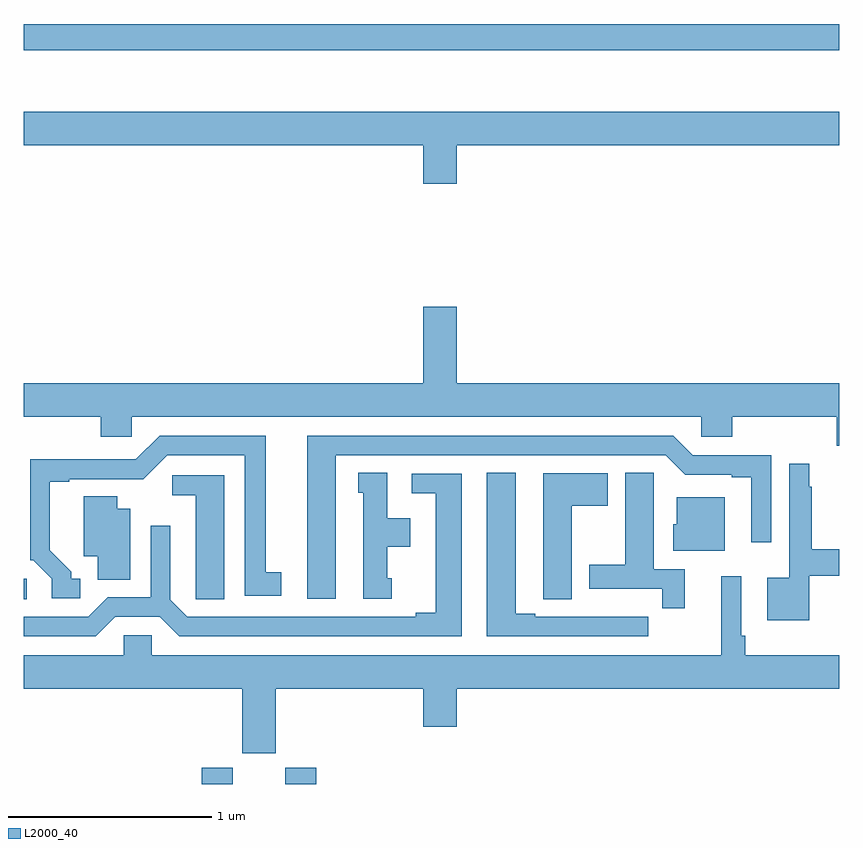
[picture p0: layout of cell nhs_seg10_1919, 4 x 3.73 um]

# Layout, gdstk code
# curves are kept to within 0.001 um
import gdstk
lib = gdstk.Library(unit=1e-6, precision=1e-09)
def R(c, l, rs):  # rectangles x0, y0, x1, y1
    for r in rs: c.add(gdstk.rectangle(r[:2], r[2:], *l))
def P(c, l, *ps):  # polygons
    for p in ps: c.add(gdstk.Polygon(p, *l))
L2000_40 = (2000, 40)

nhs_seg10_1919 = lib.new_cell('nhs_seg10_1919')
R(nhs_seg10_1919, L2000_40, [(211.874,1314.5,212.026,1314.579), (212.282,1314.5,212.435,1314.579), (211,1315.405,211.015,1315.506), (211,1318.098,215,1318.226)])
P(nhs_seg10_1919, L2000_40, [(213.124,1317.632),(215,1317.632),(215,1317.796),(211,1317.796),(211,1317.632),(212.96,1317.632),(212.96,1317.444),(213.124,1317.444)],
  [(215,1316.464),(213.124,1316.464),(213.124,1316.839),(212.96,1316.839),(212.96,1316.464),(211,1316.464),(211,1316.3),(211.379,1316.3),(211.379,1316.202),(211.53,1316.202),(211.53,1316.3),(214.323,1316.3),(214.323,1316.202),(214.475,1316.202),(214.475,1316.3),(214.988,1316.3),(214.988,1316.158),(215,1316.158)],
  [(212.53,1316.112),(214.149,1316.112),(214.245,1316.016),(214.472,1316.016),(214.472,1316.004),(214.568,1316.004),(214.568,1315.686),(214.665,1315.686),(214.665,1316.112),(214.281,1316.112),(214.185,1316.208),(212.39,1316.208),(212.39,1315.407),(212.53,1315.407)],
  [(211.279,1315.506),(211.234,1315.506),(211.234,1315.541),(211.129,1315.646),(211.129,1315.983),(211.225,1315.983),(211.225,1315.995),(211.586,1315.994),(211.704,1316.112),(212.084,1316.112),(212.084,1315.422),(212.263,1315.422),(212.263,1315.538),(212.188,1315.538),(212.188,1316.208),(211.668,1316.208),(211.551,1316.091),(211.295,1316.091),(211.295,1316.093),(211.032,1316.093),(211.032,1315.596),(211.047,1315.596),(211.137,1315.506),(211.137,1315.41),(211.279,1315.41)],
  [(214.852,1315.52),(215,1315.52),(215,1315.65),(214.864,1315.65),(214.864,1315.958),(214.852,1315.958),(214.852,1316.071),(214.755,1316.071),(214.755,1315.51),(214.646,1315.51),(214.646,1315.304),(214.852,1315.304)],
  [(212.806,1315.509),(212.782,1315.509),(212.782,1315.664),(212.896,1315.664),(212.896,1315.804),(212.782,1315.804),(212.782,1316.027),(212.642,1316.027),(212.642,1315.929),(212.666,1315.929),(212.666,1315.407),(212.806,1315.407)],
  [(214.241,1315.554),(214.09,1315.554),(214.09,1315.916),(214.089,1315.916),(214.089,1316.027),(213.95,1316.027),(213.95,1315.575),(213.773,1315.575),(213.773,1315.458),(214.132,1315.458),(214.132,1315.362),(214.241,1315.362)],
  [(214.063,1315.32),(213.95,1315.32),(213.95,1315.321),(213.784,1315.321),(213.784,1315.32),(213.508,1315.32),(213.508,1315.335),(213.412,1315.335),(213.412,1316.027),(213.272,1316.027),(213.272,1315.224),(214.063,1315.224)],
  [(213.688,1315.864),(213.865,1315.864),(213.865,1316.023),(213.548,1316.023),(213.548,1315.513),(213.549,1315.513),(213.549,1315.405),(213.688,1315.405)],
  [(211.449,1315.32),(211.667,1315.32),(211.763,1315.224),(213.148,1315.224),(213.148,1316.022),(212.904,1316.022),(212.904,1315.926),(213.02,1315.926),(213.02,1315.34),(212.924,1315.34),(212.924,1315.32),(211.803,1315.32),(211.719,1315.404),(211.719,1315.765),(211.623,1315.765),(211.623,1315.416),(211.413,1315.416),(211.317,1315.32),(211,1315.32),(211,1315.224),(211.353,1315.224)],
  [(211.984,1316.013),(211.728,1316.013),(211.728,1315.916),(211.844,1315.916),(211.844,1315.513),(211.845,1315.513),(211.845,1315.405),(211.984,1315.405)],
  [(211.522,1315.849),(211.459,1315.849),(211.459,1315.91),(211.295,1315.91),(211.295,1315.616),(211.364,1315.616),(211.364,1315.501),(211.522,1315.501)],
  [(214.438,1315.906),(214.202,1315.906),(214.202,1315.773),(214.184,1315.773),(214.184,1315.643),(214.438,1315.643)],
  [(212.236,1314.968),(212.96,1314.968),(212.96,1314.78),(213.124,1314.78),(213.124,1314.968),(215,1314.968),(215,1315.132),(214.538,1315.132),(214.538,1315.228),(214.518,1315.228),(214.518,1315.519),(214.421,1315.519),(214.421,1315.132),(211.629,1315.132),(211.629,1315.23),(211.491,1315.23),(211.491,1315.132),(211,1315.132),(211,1314.968),(212.072,1314.968),(212.072,1314.651),(212.236,1314.651)])

lib.write_gds('nhs_seg10_1919.gds')
